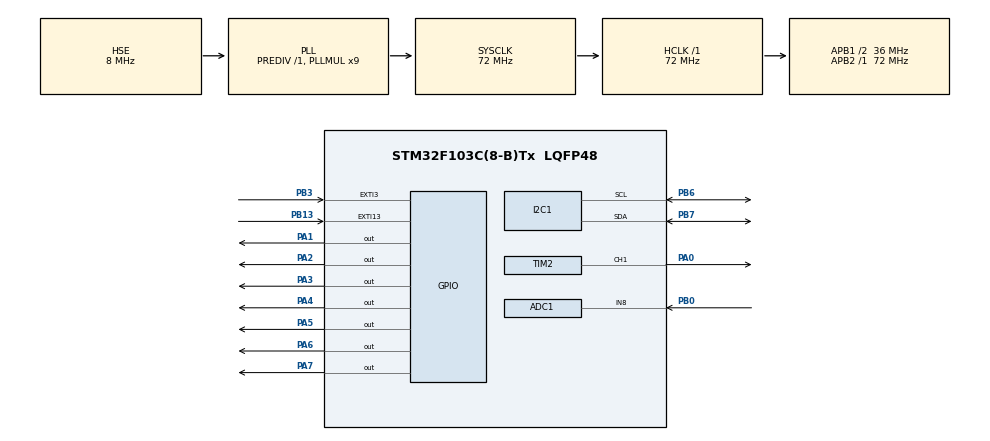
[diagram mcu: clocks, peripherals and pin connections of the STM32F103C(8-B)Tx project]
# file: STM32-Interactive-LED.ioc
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ADC1.Channel-0\#ChannelRegularConversion=ADC_CHANNEL_8
ADC1.ContinuousConvMode=ENABLE
ADC1.NbrOfConversionFlag=1
ADC1.Rank-0\#ChannelRegularConversion=1
ADC1.SamplingTime-0\#ChannelRegularConversion=ADC_SAMPLETIME_1CYCLE_5
ADC1.master=1
Mcu.Family=STM32F1
Mcu.Name=STM32F103C(8-B)Tx
Mcu.Package=LQFP48
NVIC.EXTI15_10_IRQn=true\:0\:0\:false\:false\:true\:true\:true\:true
NVIC.EXTI3_IRQn=true\:0\:0\:false\:false\:true\:true\:true\:true
NVIC.PriorityGroup=NVIC_PRIORITYGROUP_4
NVIC.TIM2_IRQn=true\:0\:0\:false\:false\:true\:true\:true\:true
PA0-WKUP.GPIO_ModeDefaultPP=GPIO_MODE_AF_PP
PA0-WKUP.Signal=S_TIM2_CH1_ETR
PA1.GPIO_ModeDefaultOutputPP=GPIO_MODE_OUTPUT_PP
PA1.GPIO_PuPd=GPIO_PULLUP
PA1.Signal=GPIO_Output
PA13.Mode=Serial_Wire
PA13.Signal=SYS_JTMS-SWDIO
PA14.Mode=Serial_Wire
PA14.Signal=SYS_JTCK-SWCLK
PA2.GPIO_ModeDefaultOutputPP=GPIO_MODE_OUTPUT_PP
PA2.GPIO_PuPd=GPIO_PULLUP
PA2.Signal=GPIO_Output
PA3.GPIO_ModeDefaultOutputPP=GPIO_MODE_OUTPUT_PP
PA3.GPIO_PuPd=GPIO_PULLUP
PA3.Signal=GPIO_Output
PA4.GPIO_PuPd=GPIO_PULLUP
PA4.Signal=GPIO_Output
PA5.GPIO_PuPd=GPIO_PULLUP
PA5.Signal=GPIO_Output
PA6.GPIO_PuPd=GPIO_PULLUP
PA6.Signal=GPIO_Output
PA7.GPIO_PuPd=GPIO_PULLUP
PA7.Signal=GPIO_Output
PA8.Signal=S_TIM1_CH1
PB0.Signal=ADCx_IN8
PB13.GPIO_ModeDefaultEXTI=GPIO_MODE_IT_RISING_FALLING
PB13.GPIO_PuPd=GPIO_PULLUP
PB13.Signal=GPXTI13
PB3.GPIO_ModeDefaultEXTI=GPIO_MODE_IT_RISING_FALLING
PB3.GPIO_PuPd=GPIO_PULLUP
PB3.Signal=GPXTI3
PB6.Mode=I2C
PB6.Signal=I2C1_SCL
PB7.Mode=I2C
PB7.Signal=I2C1_SDA
PC14-OSC32_IN.Mode=LSE-External-Oscillator
PC14-OSC32_IN.Signal=RCC_OSC32_IN
PC15-OSC32_OUT.Mode=LSE-External-Oscillator
PC15-OSC32_OUT.Signal=RCC_OSC32_OUT
PD0-OSC_IN.Mode=HSE-External-Oscillator
PD0-OSC_IN.Signal=RCC_OSC_IN
PD1-OSC_OUT.Mode=HSE-External-Oscillator
PD1-OSC_OUT.Signal=RCC_OSC_OUT
ProjectManager.HeapSize=0x200
ProjectManager.StackSize=0x400
ProjectManager.TargetToolchain=MDK-ARM V5.32
RCC.ADCPresc=RCC_ADCPCLK2_DIV6
RCC.AHBFreq_Value=72000000
RCC.APB1CLKDivider=RCC_HCLK_DIV2
RCC.APB1Freq_Value=36000000
RCC.APB1TimFreq_Value=72000000
RCC.APB2Freq_Value=72000000
RCC.APB2TimFreq_Value=72000000
RCC.HCLKFreq_Value=72000000
RCC.PLLMUL=RCC_PLL_MUL9
RCC.PLLSourceVirtual=RCC_PLLSOURCE_HSE
RCC.SYSCLKFreq_VALUE=72000000
RCC.SYSCLKSource=RCC_SYSCLKSOURCE_PLLCLK
RCC.USBFreq_Value=72000000
SH.ADCx_IN8.0=ADC1_IN8,IN8
SH.S_TIM1_CH1.0=TIM1_CH1
SH.S_TIM2_CH1_ETR.0=TIM2_CH1,PWM Generation1 CH1
TIM2.Channel-PWM\ Generation1\ CH1=TIM_CHANNEL_1
TIM2.Period=20000-1
TIM2.Prescaler=7199
TIM2.Pulse-PWM\ Generation1\ CH1=10000
board=custom

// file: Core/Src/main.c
/* USER CODE BEGIN Header */
/**
  ******************************************************************************
  * @file           : main.c
  * @brief          : Main program body
  ******************************************************************************
  * @attention
  *
  * Copyright (c) 2026 STMicroelectronics.
  * All rights reserved.
  *
  * This software is licensed under terms that can be found in the LICENSE file
  * in the root directory of this software component.
  * If no LICENSE file comes with this software, it is provided AS-IS.
  *
  ******************************************************************************
  */
/* USER CODE END Header */
#include "main.h"
#include "adc.h"
#include "i2c.h"
#include "tim.h"
#include "gpio.h"

/* USER CODE BEGIN Includes */
#include "mode.h"
#include "key.h"
#include "adc_pot.h"
#include "tim2_pwm.h"
#include "OLED.h"
#include "pre.h"
/* USER CODE END Includes */

/* USER CODE BEGIN PV */
tMode current_mode = MODE_PWM_OUTPUT;
/* USER CODE END PV */

void SystemClock_Config(void);

int main(void)
{

  /* MCU Configuration--------------------------------------------------------*/

  /* Reset of all peripherals, Initializes the Flash interface and the Systick. */
  HAL_Init();

  /* Configure the system clock */
  SystemClock_Config();

  /* Initialize all configured peripherals */
  MX_GPIO_Init();
  MX_ADC1_Init();
  MX_TIM2_Init();
  MX_I2C1_Init();
  /* USER CODE BEGIN 2 */
	PWM_TIM2_Init();
  PWM_TIM2_Start();
  OLED_Init();
	OLED_Clear();
  /* USER CODE END 2 */

  /* Infinite loop */
  while (1)
  {

    /* USER CODE BEGIN 3 */
   OLED_Clear();
   char *mode = OLED_ShowMode(current_mode);
   OLED_ShowString(0, 0, mode);

    switch (current_mode)
    {
      case MODE_PWM_OUTPUT:
        MODE_PWM_OUTPUT_Run();
        current_mode = MODE_PWM_LIGHT;
        KEY_Clear();
				break;
      case MODE_PWM_LIGHT:
        MODE_PWM_LIGHT_Run();
        current_mode = MODE_PWM_ADC;
        KEY_Clear();
        break;
      case MODE_PWM_ADC:
        MODE_PWM_ADC_OUTPUT_Run();
        current_mode = MODE_FLOWINGLIGHT;
        KEY_Clear();
				break;
      case MODE_FLOWINGLIGHT:
        MODE_FLOWINGLIGHT_Run();
        current_mode = MODE_PWM_INPUT;
        KEY_Clear();
				break;
      case MODE_MAX:
        current_mode = MODE_PWM_OUTPUT;
        KEY_Clear();
				break;
    }
  }
  /* USER CODE END 3 */
}

void SystemClock_Config(void)
{
  RCC_OscInitTypeDef RCC_OscInitStruct = {0};
  RCC_ClkInitTypeDef RCC_ClkInitStruct = {0};
  RCC_PeriphCLKInitTypeDef PeriphClkInit = {0};

  /** Initializes the RCC Oscillators according to the specified parameters
  * in the RCC_OscInitTypeDef structure.
  */
  RCC_OscInitStruct.OscillatorType = RCC_OSCILLATORTYPE_HSE;
  RCC_OscInitStruct.HSEState = RCC_HSE_ON;
  RCC_OscInitStruct.HSEPredivValue = RCC_HSE_PREDIV_DIV1;
  RCC_OscInitStruct.HSIState = RCC_HSI_ON;
  RCC_OscInitStruct.PLL.PLLState = RCC_PLL_ON;
  RCC_OscInitStruct.PLL.PLLSource = RCC_PLLSOURCE_HSE;
  RCC_OscInitStruct.PLL.PLLMUL = RCC_PLL_MUL9;
  if (HAL_RCC_OscConfig(&RCC_OscInitStruct) != HAL_OK)
  {
    Error_Handler();
  }

  /** Initializes the CPU, AHB and APB buses clocks
  */
  RCC_ClkInitStruct.ClockType = RCC_CLOCKTYPE_HCLK|RCC_CLOCKTYPE_SYSCLK
                              |RCC_CLOCKTYPE_PCLK1|RCC_CLOCKTYPE_PCLK2;
  RCC_ClkInitStruct.SYSCLKSource = RCC_SYSCLKSOURCE_PLLCLK;
  RCC_ClkInitStruct.AHBCLKDivider = RCC_SYSCLK_DIV1;
  RCC_ClkInitStruct.APB1CLKDivider = RCC_HCLK_DIV2;
  RCC_ClkInitStruct.APB2CLKDivider = RCC_HCLK_DIV1;

  if (HAL_RCC_ClockConfig(&RCC_ClkInitStruct, FLASH_LATENCY_2) != HAL_OK)
  {
    Error_Handler();
  }
  PeriphClkInit.PeriphClockSelection = RCC_PERIPHCLK_ADC;
  PeriphClkInit.AdcClockSelection = RCC_ADCPCLK2_DIV6;
  if (HAL_RCCEx_PeriphCLKConfig(&PeriphClkInit) != HAL_OK)
  {
    Error_Handler();
  }
}

void Error_Handler(void)
{
  __disable_irq();
  while (1)
  {
  }
}
